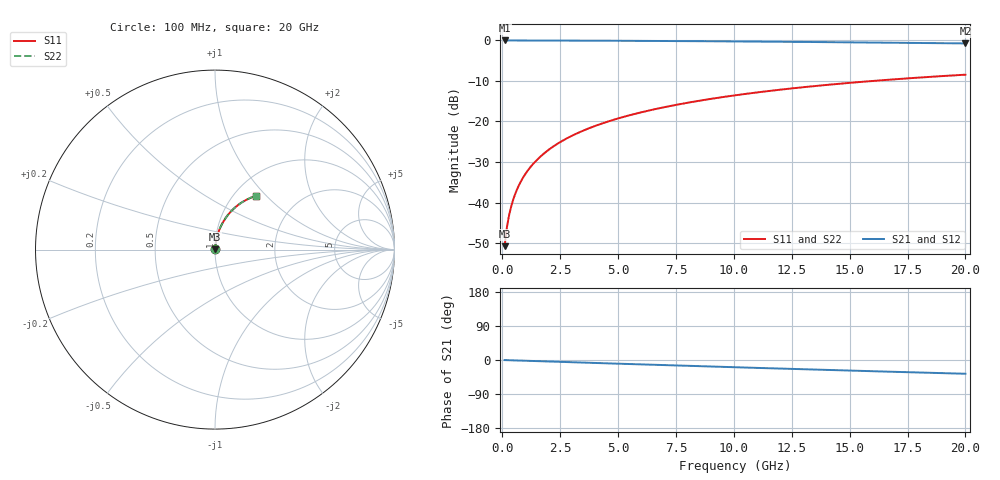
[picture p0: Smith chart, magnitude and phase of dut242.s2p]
! Touchstone file exported from HFSS 2026.1.0
!  File:  C:/ffzhzh/LocalFiles/Ansys_Project_Files/temp_train_TMRDL_242_1782984696_40604.aedt
!  Generated:  05:32:54 PM Jul  2, 2026
!  Design:  TMRDL
!  Project:  temp_train_TMRDL_242_1782984696_40604
! Variables:
!  h_bsmrdl = 2um
!  h_ox = 20um
!  h_rdl = 5um
!  h_sub = 80um
!  h_tmrdl = 5.33um
!  h_tsv = 80um
!  h_via = 3um
!  l_bsmrdl = 300um
!  l_sub = 885.14um
!  l_tmrdl = 485.14um
!  m_sub = 200um
!  pitch = 58.98um
!  r_tsv = 6um
!  s_tmrdl = 10um
!  w_bsmrdl = 18um
!  w_sub = 500um
!  w_tmrdl = 20.99um
!  x_tsv_center1 = 495.635um
!  x_tsv_center2 = 813.635um
!  x_tsv_center3 = 1319.765um
!  x_tsv_center4 = 1637.765um
!  x_tsv_center5 = 2143.895um
!  x_tsv_center6 = 2461.895um
# GHz S MA R 50.000000
! Terminal data exported
! Port[1] = TM_RDL1_1_T1
! Port[2] = TM_RDL1_1_T2
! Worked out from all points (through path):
!   200 points, 100 MHz to 20 GHz, reference 50 ohm
!   highest |S21| = -0.01 dB at 100 MHz (marker M1); lowest = -0.7 dB at 20 GHz (marker M2)
!   group delay of S21, straight-line fit = 5.04 ps
!   lowest |S11| = -50.8 dB at 100 MHz (marker M3), VSWR 1.01, Z = 50.2 + j0.237 ohm
!   |S11| at or under -10 dB: start of sweep to 16.01 GHz
!   |S22| runs from -50.8 to -8.5 dB; largest |S21 - S12| = 2e-15
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0.1  0.002899 54.5  0.9983 -0.2  0.9983 -0.2  0.002899 54.5
! Gamma 0 0 0 0
! Port Impedance 50 0 50 0
0.2  0.004979 68.8  0.9982 -0.4  0.9982 -0.4  0.004979 68.8
0.3  0.007139 74.5  0.9981 -0.6  0.9981 -0.6  0.007139 74.5
0.4  0.009322 77.5  0.9981 -0.8  0.9981 -0.8  0.009322 77.5
0.5  0.01152 79.3  0.998 -1.0  0.998 -1.0  0.01152 79.3
0.7  0.01594 81.4  0.9979 -1.4  0.9979 -1.4  0.01594 81.4
0.8  0.01816 82.0  0.9978 -1.6  0.9978 -1.6  0.01816 82.0
1  0.0226 82.7  0.9976 -2.0  0.9976 -2.0  0.0226 82.7
1.2  0.02704 83.0  0.9974 -2.4  0.9974 -2.4  0.02704 83.0
1.4  0.03148 83.1  0.9972 -2.8  0.9972 -2.8  0.03148 83.1
1.7  0.03812 83.0  0.9969 -3.4  0.9969 -3.4  0.03812 83.0
2  0.04473 82.7  0.9964 -3.9  0.9964 -3.9  0.04473 82.7
2.7  0.06002 81.8  0.9952 -5.3  0.9952 -5.3  0.06002 81.8
3.5  0.07728 80.6  0.9935 -6.8  0.9935 -6.8  0.07728 80.6
4.2  0.09218 79.4  0.9918 -8.2  0.9918 -8.2  0.09218 79.4
5  0.109 78.0  0.9897 -9.7  0.9897 -9.7  0.109 78.0
6.8  0.1461 74.9  0.9841 -13.1  0.9841 -13.1  0.1461 74.9
8.3  0.1762 72.2  0.9786 -15.9  0.9786 -15.9  0.1762 72.2
10.1  0.2111 69.1  0.9711 -19.2  0.9711 -19.2  0.2111 69.1
13.4  0.2718 63.4  0.9552 -25.1  0.9552 -25.1  0.2718 63.4
16.7  0.3275 57.8  0.9372 -30.8  0.9372 -30.8  0.3275 57.8
20  0.3777 52.5  0.9178 -36.3  0.9178 -36.3  0.3777 52.5
